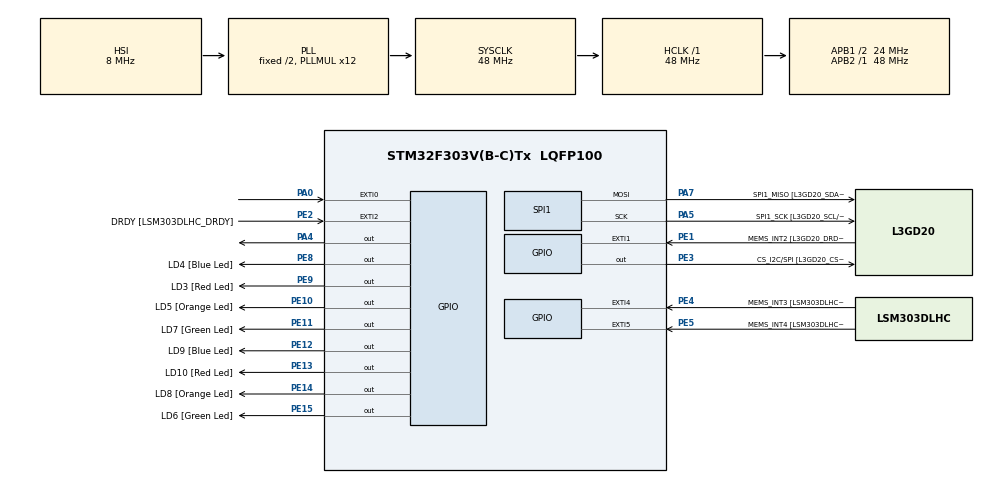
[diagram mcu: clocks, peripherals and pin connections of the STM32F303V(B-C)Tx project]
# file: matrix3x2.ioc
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Mcu.Family=STM32F3
Mcu.Name=STM32F303V(B-C)Tx
Mcu.Package=LQFP100
NVIC.EXTI0_IRQn=true\:2\:0\:true
NVIC.PriorityGroup=NVIC_PRIORITYGROUP_4
NVIC.TIM6_DAC_IRQn=true\:3\:0\:true
NVIC.TIM7_IRQn=true\:1\:0\:true
PA0.GPIO_ModeDefaultEXTI=GPIO_MODE_IT_RISING
PA0.GPIO_PuPd=GPIO_NOPULL
PA0.Signal=GPXTI0
PA11.GPIO_Label=DM
PA11.GPIO_Mode=GPIO_MODE_AF_PP
PA11.GPIO_PuPd=GPIO_NOPULL
PA11.GPIO_Speed=GPIO_SPEED_LOW
PA11.Signal=USB_DM
PA12.GPIO_Label=DP
PA12.GPIO_Mode=GPIO_MODE_AF_PP
PA12.GPIO_PuPd=GPIO_NOPULL
PA12.GPIO_Speed=GPIO_SPEED_LOW
PA12.Signal=USB_DP
PA13.GPIO_Label=SWDIO
PA13.Mode=Trace-Asynchronous_SW
PA13.Signal=SYS_JTMS-SWDIO
PA14.GPIO_Label=SWCLK
PA14.Mode=Trace-Asynchronous_SW
PA14.Signal=SYS_JTCK-SWCLK
PA4.Signal=GPIO_Output
PA5.GPIO_Label=SPI1_SCK [L3GD20_SCL/SPC]
PA5.GPIO_Mode=GPIO_MODE_AF_PP
PA5.GPIO_PuPd=GPIO_NOPULL
PA5.GPIO_Speed=GPIO_SPEED_LOW
PA5.Mode=TX_Only_Simplex_Unidirect_Master
PA5.Signal=SPI1_SCK
PA6.GPIO_Label=SPI1_MISO [L3GD20_SA0/SDO]
PA6.GPIO_Mode=GPIO_MODE_AF_PP
PA6.GPIO_PuPd=GPIO_NOPULL
PA6.GPIO_Speed=GPIO_SPEED_LOW
PA6.Signal=SPI1_MISO
PA7.GPIO_Label=SPI1_MISO [L3GD20_SDA/SDI/SDO]
PA7.GPIO_Mode=GPIO_MODE_AF_PP
PA7.GPIO_PuPd=GPIO_NOPULL
PA7.GPIO_Speed=GPIO_SPEED_LOW
PA7.Mode=TX_Only_Simplex_Unidirect_Master
PA7.Signal=SPI1_MOSI
PB3.GPIO_Label=SWO
PB3.Mode=Trace-Asynchronous_SW
PB3.Signal=SYS_JTDO-TRACESWO
PB6.GPIO_FM6=__NULL
PB6.GPIO_Label=I2C1_SCL [LSM303DLHC_SCL]
PB6.GPIO_Mode=GPIO_MODE_AF_OD
PB6.GPIO_PuPd=GPIO_NOPULL
PB6.GPIO_PuPdOD=GPIO_PULLUP
PB6.GPIO_Speed=GPIO_SPEED_LOW
PB6.Signal=I2C1_SCL
PB7.GPIO_FM7=__NULL
PB7.GPIO_Label=I2C1_SDA [LSM303DLHC_SDA]
PB7.GPIO_Mode=GPIO_MODE_AF_OD
PB7.GPIO_PuPd=GPIO_NOPULL
PB7.GPIO_PuPdOD=GPIO_PULLUP
PB7.GPIO_Speed=GPIO_SPEED_LOW
PB7.Signal=I2C1_SDA
PC14-OSC32_IN.GPIO_Label=OSC32_IN
PC14-OSC32_IN.Signal=RCC_OSC32_IN
PC15-OSC32_OUT.GPIO_Label=OSC32_OUT
PC15-OSC32_OUT.Signal=RCC_OSC32_OUT
PE1.GPIO_Label=MEMS_INT2 [L3GD20_DRDY/INT2]
PE1.GPIO_ModeDefaultEXTI=GPIO_MODE_EVT_RISING
PE1.GPIO_PuPd=GPIO_NOPULL
PE1.Signal=GPXTI1
PE10.GPIO_Label=LD5 [Orange Led]
PE10.GPIO_ModeDefaultOutputPP=GPIO_MODE_OUTPUT_PP
PE10.GPIO_PuPd=GPIO_NOPULL
PE10.GPIO_Speed=GPIO_SPEED_LOW
PE10.Signal=GPIO_Output
PE11.GPIO_Label=LD7 [Green Led]
PE11.GPIO_ModeDefaultOutputPP=GPIO_MODE_OUTPUT_PP
PE11.GPIO_PuPd=GPIO_NOPULL
PE11.GPIO_Speed=GPIO_SPEED_LOW
PE11.Signal=GPIO_Output
PE12.GPIO_Label=LD9 [Blue Led]
PE12.GPIO_ModeDefaultOutputPP=GPIO_MODE_OUTPUT_PP
PE12.GPIO_PuPd=GPIO_NOPULL
PE12.GPIO_Speed=GPIO_SPEED_LOW
PE12.Signal=GPIO_Output
PE13.GPIO_Label=LD10 [Red Led]
PE13.GPIO_ModeDefaultOutputPP=GPIO_MODE_OUTPUT_PP
PE13.GPIO_PuPd=GPIO_NOPULL
PE13.GPIO_Speed=GPIO_SPEED_LOW
PE13.Signal=GPIO_Output
PE14.GPIO_Label=LD8 [Orange Led]
PE14.GPIO_ModeDefaultOutputPP=GPIO_MODE_OUTPUT_PP
PE14.GPIO_PuPd=GPIO_NOPULL
PE14.GPIO_Speed=GPIO_SPEED_LOW
PE14.Signal=GPIO_Output
PE15.GPIO_Label=LD6 [Green Led]
PE15.GPIO_ModeDefaultOutputPP=GPIO_MODE_OUTPUT_PP
PE15.GPIO_PuPd=GPIO_NOPULL
PE15.GPIO_Speed=GPIO_SPEED_LOW
PE15.Signal=GPIO_Output
PE2.GPIO_Label=DRDY [LSM303DLHC_DRDY]
PE2.GPIO_ModeDefaultEXTI=GPIO_MODE_EVT_RISING
PE2.GPIO_PuPd=GPIO_NOPULL
PE2.Signal=GPXTI2
PE3.GPIO_Label=CS_I2C/SPI [L3GD20_CS_I2C/SPI]
PE3.GPIO_ModeDefaultOutputPP=GPIO_MODE_OUTPUT_PP
PE3.GPIO_PuPd=GPIO_NOPULL
PE3.GPIO_Speed=GPIO_SPEED_LOW
PE3.Signal=GPIO_Output
PE4.GPIO_Label=MEMS_INT3 [LSM303DLHC_INT1]
PE4.GPIO_ModeDefaultEXTI=GPIO_MODE_EVT_RISING
PE4.GPIO_PuPd=GPIO_NOPULL
PE4.Signal=GPXTI4
PE5.GPIO_Label=MEMS_INT4 [LSM303DLHC_INT2]
PE5.GPIO_ModeDefaultEXTI=GPIO_MODE_EVT_RISING
PE5.GPIO_PuPd=GPIO_NOPULL
PE5.Signal=GPXTI5
PE8.GPIO_Label=LD4 [Blue Led]
PE8.GPIO_ModeDefaultOutputPP=GPIO_MODE_OUTPUT_PP
PE8.GPIO_PuPd=GPIO_NOPULL
PE8.GPIO_Speed=GPIO_SPEED_LOW
PE8.Signal=GPIO_Output
PE9.GPIO_Label=LD3 [Red Led]
PE9.GPIO_ModeDefaultOutputPP=GPIO_MODE_OUTPUT_PP
PE9.GPIO_PuPd=GPIO_NOPULL
PE9.GPIO_Speed=GPIO_SPEED_LOW
PE9.Signal=GPIO_Output
PF0-OSC_IN.GPIO_Label=OSC_IN
PF0-OSC_IN.Signal=RCC_OSC_IN
PF1-OSC_OUT.GPIO_Label=OSC_OUT
PF1-OSC_OUT.Signal=RCC_OSC_OUT
ProjectManager.TargetToolchain=EWARM 6.70
RCC.AHBFreq_Value=48000000
RCC.APB1CLKDivider=RCC_HCLK_DIV2
RCC.APB1Freq_Value=24000000
RCC.APB1TimFreq_Value=48000000
RCC.APB2Freq_Value=48000000
RCC.APB2TimFreq_Value=48000000
RCC.CortexFreq_Value=6000000
RCC.HCLKFreq_Value=48000000
RCC.HSE_VALUE=8000000
RCC.HSI_VALUE=8000000
RCC.LSE_VALUE=32768
RCC.PLLMUL=RCC_PLL_MUL12
RCC.SYSCLKFreq_VALUE=48000000
RCC.SYSCLKSourceVirtual=RCC_SYSCLKSOURCE_PLLCLK
RCC.USBFreq_Value=48000000
SPI1.BaudRatePrescaler-TX_Only_Simplex_Unidirect_Master=SPI_BAUDRATEPRESCALER_4
SPI1.CalculateBaudRate-TX_Only_Simplex_Unidirect_Master=12.0 MBits/s
SPI1.DataSize-TX_Only_Simplex_Unidirect_Master=SPI_DATASIZE_8BIT
SPI1.FirstBit-TX_Only_Simplex_Unidirect_Master=SPI_FIRSTBIT_LSB
SPI1.Mode-TX_Only_Simplex_Unidirect_Master=SPI_MODE_MASTER
SPI1.NSS-TX_Only_Simplex_Unidirect_Master=SPI_NSS_HARD_OUTPUT
SPI1.NSSPMode-TX_Only_Simplex_Unidirect_Master=SPI_NSS_PULSE_DISABLED
SPI1.TIMode-TX_Only_Simplex_Unidirect_Master=SPI_TIMODE_DISABLED
TIM6.Period=10000
TIM6.Prescaler=1
TIM6.TIM_MasterOutputTrigger=TIM_TRGO_RESET
TIM7.Period=200
TIM7.Prescaler=24000
VP_TIM6_VS_ClockSourceINT.Mode=Enable_Timer
VP_TIM7_VS_ClockSourceINT.Mode=Enable_Timer

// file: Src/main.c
/**
  ******************************************************************************
  * File Name          : main.c
  * Date               : 26/01/2015 11:17:38
  * Description        : Main program body
  ******************************************************************************
  *
  * COPYRIGHT(c) 2015 STMicroelectronics
  *
  * Redistribution and use in source and binary forms, with or without modification,
  * are permitted provided that the following conditions are met:
  *   1. Redistributions of source code must retain the above copyright notice,
  *      this list of conditions and the following disclaimer.
  *   2. Redistributions in binary form must reproduce the above copyright notice,
  *      this list of conditions and the following disclaimer in the documentation
  *      and/or other materials provided with the distribution.
  *   3. Neither the name of STMicroelectronics nor the names of its contributors
  *      may be used to endorse or promote products derived from this software
  *      without specific prior written permission.
  *
  * THIS SOFTWARE IS PROVIDED BY THE COPYRIGHT HOLDERS AND CONTRIBUTORS "AS IS"
  * AND ANY EXPRESS OR IMPLIED WARRANTIES, INCLUDING, BUT NOT LIMITED TO, THE
  * IMPLIED WARRANTIES OF MERCHANTABILITY AND FITNESS FOR A PARTICULAR PURPOSE ARE
  * DISCLAIMED. IN NO EVENT SHALL THE COPYRIGHT HOLDER OR CONTRIBUTORS BE LIABLE
  * FOR ANY DIRECT, INDIRECT, INCIDENTAL, SPECIAL, EXEMPLARY, OR CONSEQUENTIAL
  * DAMAGES (INCLUDING, BUT NOT LIMITED TO, PROCUREMENT OF SUBSTITUTE GOODS OR
  * SERVICES; LOSS OF USE, DATA, OR PROFITS; OR BUSINESS INTERRUPTION) HOWEVER
  * CAUSED AND ON ANY THEORY OF LIABILITY, WHETHER IN CONTRACT, STRICT LIABILITY,
  * OR TORT (INCLUDING NEGLIGENCE OR OTHERWISE) ARISING IN ANY WAY OUT OF THE USE
  * OF THIS SOFTWARE, EVEN IF ADVISED OF THE POSSIBILITY OF SUCH DAMAGE.
  *
  ******************************************************************************
  */

#include "stm32f3xx_hal.h"

/* USER CODE BEGIN Includes */
#include "CHARS.h"
/* USER CODE END Includes */

SPI_HandleTypeDef hspi1;

TIM_HandleTypeDef htim6;
TIM_HandleTypeDef htim7;

/* USER CODE BEGIN PV */
char data_An[8] = {0x7F,0xBF,0xDF,0xEF,0xF7,0xFB,0xFD,0xFE};
char data_Gr[8] = {0xFF,0xFF,0xFF,0xFF,0xFF,0xFF,0xFF,0xFF};
char data_Rd[8] = {0xFF,0xFF,0xFF,0xFF,0xFF,0xFF,0xFF,0xFF};
char data_Bl[8] = {0xFF,0xFF,0xFF,0xFF,0xFF,0xFF,0xFF,0xFF};

char char_Play[][2] = {
  2,21,
  0,239,
  1,223,
  2,223,
  3,191,
  4,191,
  5,191,
  6,191,
  7,191,
  0,231,
  1,219,
  2,219,
  3,189,
  4,189,
  5,189,
  6,189,
  7,189,
  4,157,
  4,141,
  4,133,
  4,129
};
int setcolour = WHITE;
short countLine = sizeof(data_An)-1;
int counterChanges = 0;
int counterLetters = 1;
short countColour = 0;
uint8_t pData[24];

char bufferData [8][4];

/* USER CODE END PV */

void SystemClock_Config(void);
static void MX_GPIO_Init(void);
static void MX_SPI1_Init(void);
static void MX_TIM6_Init(void);
static void MX_TIM7_Init(void);

/* USER CODE BEGIN PFP */

/*Инициализация функции формирования посылки*/
void create_pData(void)
{
  pData[0] = bufferData[countLine][0];
  pData[1] = bufferData[countLine][1];
  pData[2] = bufferData[countLine][2];
  pData[3] = bufferData[countLine][3];
  pData[4] = bufferData[countLine][0];
  pData[5] = bufferData[countLine][1];
  pData[6] = bufferData[countLine][2];
  pData[7] = bufferData[countLine][3];
  pData[8] = bufferData[countLine][0];
  pData[9] = bufferData[countLine][1];
  pData[10] = bufferData[countLine][2];
  pData[11] = bufferData[countLine][3];
  pData[12] = bufferData[countLine][0];
  pData[13] = bufferData[countLine][1];
  pData[14] = bufferData[countLine][2];
  pData[15] = bufferData[countLine][3];
  pData[16] = bufferData[countLine][0];
  pData[17] = bufferData[countLine][1];
  pData[18] = bufferData[countLine][2];
  pData[19] = bufferData[countLine][3];
  pData[20] = bufferData[countLine][0];
  pData[21] = bufferData[countLine][1];
  pData[22] = bufferData[countLine][2];
  pData[23] = bufferData[countLine][3];
}

/*Инициализация функции формирования масива изображения*/
void create_bufferData(void)
{
  for (int i=0; i <=7 ; i++)
  {
    bufferData[i][0] = data_An[i];
    bufferData[i][1] = data_Gr[i];
    bufferData[i][2] = data_Rd[i];
    bufferData[i][3] = data_Bl[i];
  }
 }

/*Инициализация функции отправки данных*/
void send_Data(void)
{
  create_bufferData();
  create_pData();
  HAL_SPI_Transmit(&hspi1, pData, 24, 1);
  HAL_GPIO_WritePin(GPIOA, GPIO_PIN_4,GPIO_PIN_SET);
  HAL_GPIO_WritePin(GPIOA, GPIO_PIN_4,GPIO_PIN_RESET);
}

/*Инициализация функции очистки изображения*/
void zero_matrix(void)
{
  for (int i=0; i<=7; i++)
  {
  data_Gr[i] = 0xFF;
  data_Rd[i] = 0xFF;
  data_Bl[i] = 0xFF;
  }
}

/*Инициализация функци отрисовки буквы нужного цвета*/
void writte_Char(int colour)
{
switch(colour)
    {
    case GREEN:
      {
        data_Gr[char_Play[counterChanges][0]] = char_Play[counterChanges][1];
        break;
      }
    case RED:
      {
        data_Rd[char_Play[counterChanges][0]] = char_Play[counterChanges][1];
        break;
      }
    case BLUE:
      {
        data_Bl[char_Play[counterChanges][0]] = char_Play[counterChanges][1];
        break;
      }
    case YELLOW:
      {
        data_Gr[char_Play[counterChanges][0]] = char_Play[counterChanges][1];
        data_Rd[char_Play[counterChanges][0]] = char_Play[counterChanges][1];
        break;
      }
    case MAGENTA:
      {
        data_Rd[char_Play[counterChanges][0]] = char_Play[counterChanges][1];
        data_Bl[char_Play[counterChanges][0]] = char_Play[counterChanges][1];
        break;
      }
    case CYAN:
      {
        data_Gr[char_Play[counterChanges][0]] = char_Play[counterChanges][1];
        data_Bl[char_Play[counterChanges][0]] = char_Play[counterChanges][1];
        break;
      }
    case WHITE:
      {
        data_Gr[char_Play[counterChanges+1][0]] = char_Play[counterChanges+1][1];
        data_Bl[char_Play[counterChanges+1][0]] = char_Play[counterChanges+1][1];
        data_Rd[char_Play[counterChanges+1][0]] = char_Play[counterChanges+1][1];
        break;
      }
    default:
      zero_matrix();
    }
  }

/*Инициализация функции присвоения масиву вывода выбранной буквы*/
void set_Char (char *letter, int i, int j)
{
  for (int k = 0; k < j; k++)
  {
    for (int z = 0; z < i; z++)
    {
      char_Play[k][z] = letter[(i*k)+z];
    }
  }
}

/*????Инициализация функции изменения цвета*/
void changecolour(void)
{
  switch(countColour)
  {
  case 0:
    {
      setcolour = GREEN;
      countColour++;
      break;
    }
  case 1:
    {
      setcolour = RED;
      countColour++;
      break;
    }
  case 2:
    {
      setcolour = BLUE;
      countColour++;
      break;
    }
  case 3:
    {
      setcolour = YELLOW;
      countColour++;
      break;
    }
  case 4:
    {
      setcolour = MAGENTA;
      countColour++;
      break;
    }
  case 5:
    {
      setcolour = CYAN;
      countColour++;
      break;
    }
  case 6:
    {
      setcolour = WHITE;
      countColour++;
      break;
    }
  default:
    __NOP();
  }
}
/* USER CODE END PFP */

int main(void)
{

  /* MCU Configuration----------------------------------------------------------*/

  /* Reset of all peripherals, Initializes the Flash interface and the Systick. */
  HAL_Init();

  /* Configure the system clock */
  SystemClock_Config();

  /* Initialize all configured peripherals */
  MX_GPIO_Init();
  MX_SPI1_Init();
  MX_TIM6_Init();
  MX_TIM7_Init();

  /* USER CODE BEGIN 2 */
  HAL_TIM_Base_Start_IT(&htim6);
  HAL_TIM_Base_Start_IT(&htim7);
  /* USER CODE END 2 */

  while (1)
  {
  }

}

/** System Clock Configuration
*/
void SystemClock_Config(void)
{

  RCC_OscInitTypeDef RCC_OscInitStruct;
  RCC_ClkInitTypeDef RCC_ClkInitStruct;

  RCC_OscInitStruct.OscillatorType = RCC_OSCILLATORTYPE_HSI;
  RCC_OscInitStruct.HSIState = RCC_HSI_ON;
  RCC_OscInitStruct.HSICalibrationValue = 16;
  RCC_OscInitStruct.PLL.PLLState = RCC_PLL_ON;
  RCC_OscInitStruct.PLL.PLLSource = RCC_PLLSOURCE_HSI;
  RCC_OscInitStruct.PLL.PLLMUL = RCC_PLL_MUL12;
  HAL_RCC_OscConfig(&RCC_OscInitStruct);

  RCC_ClkInitStruct.ClockType = RCC_CLOCKTYPE_SYSCLK|RCC_CLOCKTYPE_PCLK1;
  RCC_ClkInitStruct.SYSCLKSource = RCC_SYSCLKSOURCE_PLLCLK;
  RCC_ClkInitStruct.AHBCLKDivider = RCC_SYSCLK_DIV1;
  RCC_ClkInitStruct.APB1CLKDivider = RCC_HCLK_DIV2;
  RCC_ClkInitStruct.APB2CLKDivider = RCC_HCLK_DIV1;
  HAL_RCC_ClockConfig(&RCC_ClkInitStruct, FLASH_LATENCY_1);

  __SYSCFG_CLK_ENABLE();

}

/* SPI1 init function */
void MX_SPI1_Init(void)
{

  hspi1.Instance = SPI1;
  hspi1.Init.Mode = SPI_MODE_MASTER;
  hspi1.Init.Direction = SPI_DIRECTION_2LINES;
  hspi1.Init.DataSize = SPI_DATASIZE_8BIT;
  hspi1.Init.CLKPolarity = SPI_POLARITY_LOW;
  hspi1.Init.CLKPhase = SPI_PHASE_1EDGE;
  hspi1.Init.NSS = SPI_NSS_SOFT;
  hspi1.Init.BaudRatePrescaler = SPI_BAUDRATEPRESCALER_4;
  hspi1.Init.FirstBit = SPI_FIRSTBIT_LSB;
  hspi1.Init.TIMode = SPI_TIMODE_DISABLED;
  hspi1.Init.CRCCalculation = SPI_CRCCALCULATION_DISABLED;
  hspi1.Init.NSSPMode = SPI_NSS_PULSE_DISABLED;
  HAL_SPI_Init(&hspi1);

}

/* TIM6 init function */
void MX_TIM6_Init(void)
{

  TIM_MasterConfigTypeDef sMasterConfig;

  htim6.Instance = TIM6;
  htim6.Init.Prescaler = 1;
  htim6.Init.CounterMode = TIM_COUNTERMODE_UP;
  htim6.Init.Period = 10000;
  HAL_TIM_Base_Init(&htim6);

  sMasterConfig.MasterOutputTrigger = TIM_TRGO_RESET;
  sMasterConfig.MasterSlaveMode = TIM_MASTERSLAVEMODE_DISABLE;
  HAL_TIMEx_MasterConfigSynchronization(&htim6, &sMasterConfig);

}

/* TIM7 init function */
void MX_TIM7_Init(void)
{

  TIM_MasterConfigTypeDef sMasterConfig;

  htim7.Instance = TIM7;
  htim7.Init.Prescaler = 24000;
  htim7.Init.CounterMode = TIM_COUNTERMODE_UP;
  htim7.Init.Period = 200;
  HAL_TIM_Base_Init(&htim7);

  sMasterConfig.MasterOutputTrigger = TIM_TRGO_RESET;
  sMasterConfig.MasterSlaveMode = TIM_MASTERSLAVEMODE_DISABLE;
  HAL_TIMEx_MasterConfigSynchronization(&htim7, &sMasterConfig);

}

/** Configure pins as
        * Analog
        * Input
        * Output
        * EVENT_OUT
        * EXTI
     PA11   ------> USB_DM
     PA12   ------> USB_DP
     PB6   ------> I2C1_SCL
     PB7   ------> I2C1_SDA
*/
void MX_GPIO_Init(void)
{

  GPIO_InitTypeDef GPIO_InitStruct;

  /* GPIO Ports Clock Enable */
  __GPIOE_CLK_ENABLE();
  __GPIOC_CLK_ENABLE();
  __GPIOF_CLK_ENABLE();
  __GPIOA_CLK_ENABLE();
  __GPIOB_CLK_ENABLE();

  /*Configure GPIO pins : PE2 PE4 PE5 PE1 */
  GPIO_InitStruct.Pin = GPIO_PIN_2|GPIO_PIN_4|GPIO_PIN_5|GPIO_PIN_1;
  GPIO_InitStruct.Mode = GPIO_MODE_EVT_RISING;
  GPIO_InitStruct.Pull = GPIO_NOPULL;
  HAL_GPIO_Init(GPIOE, &GPIO_InitStruct);

  /*Configure GPIO pins : PE3 PE8 PE9 PE10
                           PE11 PE12 PE13 PE14
                           PE15 */
  GPIO_InitStruct.Pin = GPIO_PIN_3|GPIO_PIN_8|GPIO_PIN_9|GPIO_PIN_10
                          |GPIO_PIN_11|GPIO_PIN_12|GPIO_PIN_13|GPIO_PIN_14
                          |GPIO_PIN_15;
  GPIO_InitStruct.Mode = GPIO_MODE_OUTPUT_PP;
  GPIO_InitStruct.Pull = GPIO_NOPULL;
  GPIO_InitStruct.Speed = GPIO_SPEED_LOW;
  HAL_GPIO_Init(GPIOE, &GPIO_InitStruct);

  /*Configure GPIO pin : PA0 */
  GPIO_InitStruct.Pin = GPIO_PIN_0;
  GPIO_InitStruct.Mode = GPIO_MODE_IT_RISING;
  GPIO_InitStruct.Pull = GPIO_NOPULL;
  HAL_GPIO_Init(GPIOA, &GPIO_InitStruct);

  /*Configure GPIO pin : PA4 */
  GPIO_InitStruct.Pin = GPIO_PIN_4;
  GPIO_InitStruct.Mode = GPIO_MODE_OUTPUT_PP;
  GPIO_InitStruct.Pull = GPIO_NOPULL;
  GPIO_InitStruct.Speed = GPIO_SPEED_LOW;
  HAL_GPIO_Init(GPIOA, &GPIO_InitStruct);

  /*Configure GPIO pins : PA11 PA12 */
  GPIO_InitStruct.Pin = GPIO_PIN_11|GPIO_PIN_12;
  GPIO_InitStruct.Mode = GPIO_MODE_AF_PP;
  GPIO_InitStruct.Pull = GPIO_NOPULL;
  GPIO_InitStruct.Speed = GPIO_SPEED_LOW;
  GPIO_InitStruct.Alternate = GPIO_AF14_USB;
  HAL_GPIO_Init(GPIOA, &GPIO_InitStruct);

  /*Configure GPIO pins : PB6 PB7 */
  GPIO_InitStruct.Pin = GPIO_PIN_6|GPIO_PIN_7;
  GPIO_InitStruct.Mode = GPIO_MODE_AF_OD;
  GPIO_InitStruct.Pull = GPIO_PULLUP;
  GPIO_InitStruct.Speed = GPIO_SPEED_LOW;
  GPIO_InitStruct.Alternate = GPIO_AF4_I2C1;
  HAL_GPIO_Init(GPIOB, &GPIO_InitStruct);

  /* EXTI interrupt init*/
  HAL_NVIC_SetPriority(EXTI0_IRQn, 2, 0);
  HAL_NVIC_EnableIRQ(EXTI0_IRQn);

}

/* USER CODE BEGIN 4 */

void HAL_TIM_PeriodElapsedCallback(TIM_HandleTypeDef *htim)
{
  if (htim == &htim6)
  {
    if (countLine < 0)
    {
      countLine=(sizeof(data_An)-1);
    }
    send_Data();
    countLine--;
  }
  else if (htim == &htim7)
  {
    char *p = lEtters[counterLetters-1];
    if(counterChanges > (((p[1])-1)+24))
    {
        zero_matrix();
        counterChanges = 0;
    }
    if (counterChanges < ((p[1])-1))
    {
      writte_Char(setcolour);
    }
      counterChanges++;
  }
}

void HAL_GPIO_EXTI_Callback(uint16_t GPIO_Pin0)
{
  char *p = lEtters[counterLetters];
  set_Char(p, p[0], p[1]);
  zero_matrix();
  counterChanges = 0;
  counterLetters++;
}

/* USER CODE END 4 */

/************************ (C) COPYRIGHT STMicroelectronics *****END OF FILE****/
